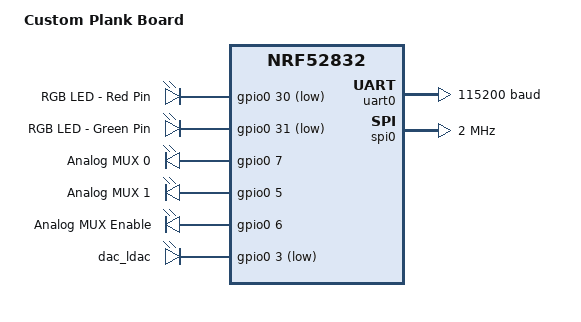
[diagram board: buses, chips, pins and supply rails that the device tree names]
/*
 * Copyright (c) 2021 Nordic Semiconductor ASA
 * SPDX-License-Identifier: Apache-2.0
 */

/dts-v1/;
#include <nordic/nrf52832_qfaa.dtsi>
#include "custom_plank-pinctrl.dtsi"

/ {
	model = "Custom Plank Board";
	compatible = "vendor,custom-plank";

	chosen {
		zephyr,sram = &sram0;
		zephyr,flash = &flash0;
		zephyr,code-partition = &slot0_partition;

		zephyr,console = &uart0;
		zephyr,shell-uart = &uart0;
		zephyr,uart-mcumgr = &uart0;
		zephyr,bt-mon-uart = &uart0;
		zephyr,bt-c2h-uart = &uart0;
	};

	leds {
		compatible = "gpio-leds";

		led_red: led_red {
			gpios = <&gpio0 30 GPIO_ACTIVE_LOW>;
			label = "RGB LED - Red Pin";
		};

		led_blue: led_blue {
			gpios = <&gpio0 31 GPIO_ACTIVE_LOW>;
			label = "RGB LED - Green Pin";
		};

		amux_a0: amux_a0 {
			gpios = <&gpio0 7 GPIO_ACTIVE_HIGH>;
			label = "Analog MUX 0";
		};

		amux_a1: amux_a1 {
			gpios = <&gpio0 5 GPIO_ACTIVE_HIGH>;
			label = "Analog MUX 1";
		};

		amux_en: amux_en {
			gpios = <&gpio0 6 GPIO_ACTIVE_HIGH>;
			label = "Analog MUX Enable";
		};

		dac_ldac: dac_ldac {
			gpios = <&gpio0 3 GPIO_ACTIVE_LOW>;
		};
	};

	aliases {
		spibus = &spi0;
		led0 = &led_red;
	};
};

&gpio0 {
	status = "okay";
};

&gpiote {
	status = "okay";
};


&uart0 {
	status = "okay";
	compatible = "nordic,nrf-uarte";
	current-speed = <115200>;
	pinctrl-0 = <&uart0_default>;
	pinctrl-1 = <&uart0_sleep>;
	pinctrl-names = "default","sleep";
};

&spi0 {
	compatible = "nordic,nrf-spi";
	clock-frequency = <2000000>;
	pinctrl-0 = <&spi0_default>;
	pinctrl-1 = <&spi0_sleep>;
	pinctrl-names = "default","sleep";
};


&flash0 {
	partitions {
		compatible = "fixed-partitions";
		#address-cells = <1>;
		#size-cells = <1>;

		boot_partition: partition@0 {
			label = "mcuboot";
			reg = <0x0 0xc000>;
		};
		slot0_partition: partition@c000 {
			label = "image-0";
			reg = <0xc000 0x32000>;
		};
		slot1_partition: partition@3e000 {
			label = "image-1";
			reg = <0x3e000 0x32000>;
		};
		scratch_partition: partition@70000 {
			label = "image-scratch";
			reg = <0x70000 0xa000>;
		};
		storage_partition: partition@7a000 {
			label = "storage";
			reg = <0x7a000 0x6000>;
		};
	};
};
